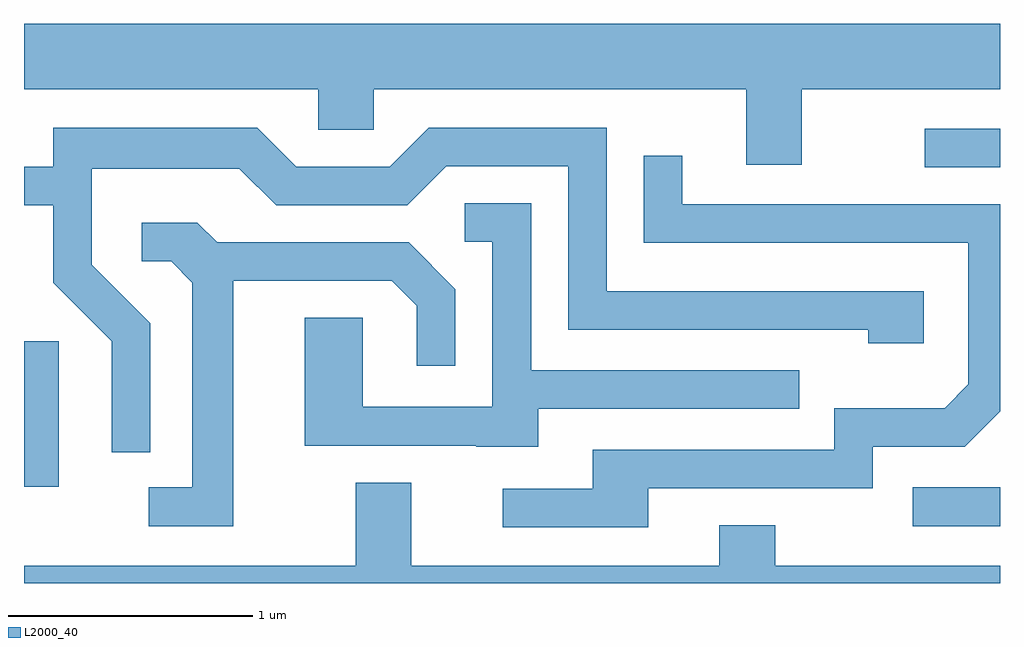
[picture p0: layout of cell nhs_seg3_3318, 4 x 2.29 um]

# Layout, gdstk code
import gdstk
lib = gdstk.Library(unit=1e-6, precision=1e-09)
def R(c, l, rs):  # rectangles x0, y0, x1, y1
    for r in rs: c.add(gdstk.rectangle(r[:2], r[2:], *l))
def P(c, l, *ps):  # polygons
    for p in ps: c.add(gdstk.Polygon(p, *l))
L2000_40 = (2000, 40)

nhs_seg3_3318 = lib.new_cell('nhs_seg3_3318')
R(nhs_seg3_3318, L2000_40, [(285.253,1224.126,285.611,1224.284), (281.611,1224.286,281.754,1224.884), (285.303,1225.596,285.611,1225.754)])
P(nhs_seg3_3318, L2000_40, [(284.799,1225.916),(285.611,1225.916),(285.611,1226.184),(281.611,1226.184),(281.611,1225.916),(282.816,1225.916),(282.816,1225.751),(283.044,1225.751),(283.044,1225.916),(284.571,1225.916),(284.571,1225.606),(284.799,1225.606)],
  [(282.129,1224.957),(281.889,1225.197),(281.889,1225.591),(282.494,1225.591),(282.644,1225.441),(283.182,1225.441),(283.342,1225.601),(283.841,1225.601),(283.841,1224.931),(285.071,1224.931),(285.071,1224.876),(285.299,1224.876),(285.299,1225.089),(283.999,1225.089),(283.999,1225.759),(283.269,1225.759),(283.109,1225.599),(282.727,1225.599),(282.567,1225.759),(281.731,1225.759),(281.731,1225.599),(281.611,1225.599),(281.611,1225.441),(281.731,1225.441),(281.731,1225.124),(281.971,1224.884),(281.971,1224.428),(282.129,1224.428)],
  [(284.169,1224.281),(285.089,1224.281),(285.089,1224.451),(285.467,1224.451),(285.611,1224.596),(285.611,1225.444),(284.309,1225.444),(284.309,1225.643),(284.151,1225.643),(284.151,1225.286),(285.481,1225.286),(285.481,1224.707),(285.384,1224.609),(284.931,1224.609),(284.931,1224.439),(283.941,1224.439),(283.941,1224.279),(283.573,1224.279),(283.573,1224.121),(284.169,1224.121)],
  [(283.719,1224.606),(284.788,1224.606),(284.788,1224.764),(283.689,1224.764),(283.689,1225.449),(283.418,1225.449),(283.418,1225.291),(283.531,1225.291),(283.531,1224.614),(282.999,1224.614),(282.999,1224.979),(282.761,1224.979),(282.761,1224.456),(283.465,1224.456),(283.465,1224.451),(283.719,1224.451)],
  [(282.469,1225.131),(283.119,1225.131),(283.221,1225.029),(283.221,1224.783),(283.379,1224.783),(283.379,1225.097),(283.187,1225.289),(282.402,1225.289),(282.322,1225.369),(282.093,1225.369),(282.093,1225.211),(282.214,1225.211),(282.301,1225.124),(282.301,1224.284),(282.123,1224.284),(282.123,1224.126),(282.469,1224.126)],
  [(285.611,1223.964),(284.689,1223.964),(284.689,1224.129),(284.461,1224.129),(284.461,1223.964),(283.199,1223.964),(283.199,1224.304),(282.971,1224.304),(282.971,1223.964),(281.611,1223.964),(281.611,1223.892),(285.611,1223.892)])

lib.write_gds('nhs_seg3_3318.gds')
